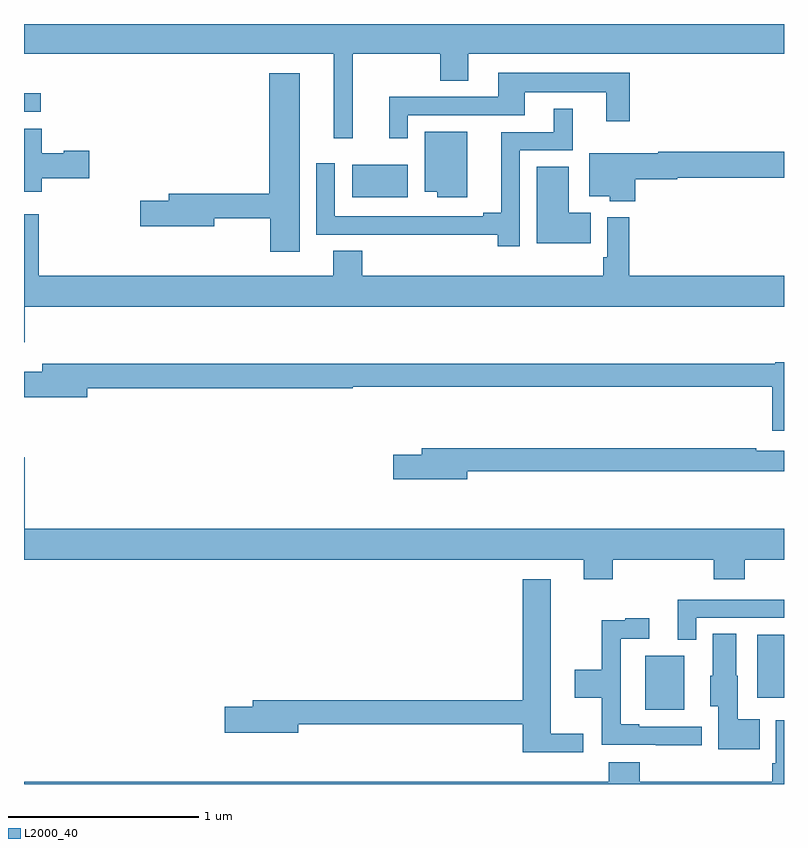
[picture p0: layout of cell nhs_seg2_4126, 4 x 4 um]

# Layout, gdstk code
import gdstk
lib = gdstk.Library(unit=1e-6, precision=1e-09)
def R(c, l, rs):  # rectangles x0, y0, x1, y1
    for r in rs: c.add(gdstk.rectangle(r[:2], r[2:], *l))
def P(c, l, *ps):  # polygons
    for p in ps: c.add(gdstk.Polygon(p, *l))
L2000_40 = (2000, 40)

nhs_seg2_4126 = lib.new_cell('nhs_seg2_4126')
R(nhs_seg2_4126, L2000_40, [(336.269,636.191,336.475,636.475), (336.86,636.254,337,636.586), (334.727,638.888,335.02,639.058), (333,639.339,333.088,639.435)])
P(nhs_seg2_4126, L2000_40, [(337,639.8),(333,639.8),(333,639.644),(334.631,639.644),(334.631,639.198),(334.73,639.198),(334.73,639.644),(335.191,639.644),(335.191,639.502),(335.338,639.502),(335.338,639.644),(337,639.644)],
  [(335.019,639.321),(335.635,639.321),(335.635,639.44),(336.065,639.44),(336.065,639.288),(336.187,639.288),(336.187,639.544),(335.495,639.544),(335.495,639.417),(334.922,639.417),(334.922,639.198),(335.019,639.198)],
  [(334.45,639.541),(334.292,639.541),(334.292,638.906),(333.761,638.906),(333.761,638.87),(333.612,638.87),(333.612,638.735),(334,638.735),(334,638.778),(334.297,638.778),(334.297,638.601),(334.45,638.601)],
  [(335.61,639.135),(335.887,639.135),(335.887,639.355),(335.789,639.355),(335.789,639.231),(335.513,639.231),(335.513,638.807),(335.417,638.807),(335.417,638.787),(334.635,638.787),(334.635,639.067),(334.539,639.067),(334.539,638.691),(334.864,638.691),(334.864,638.69),(335.494,638.69),(335.494,638.631),(335.61,638.631)],
  [(333.094,638.987),(333.343,638.987),(333.343,639.134),(333.21,639.134),(333.21,639.121),(333.094,639.121),(333.094,639.25),(333,639.25),(333,638.918),(333.094,638.918)],
  [(335.332,639.232),(335.108,639.232),(335.108,638.918),(335.174,638.918),(335.174,638.888),(335.332,638.888)],
  [(336.218,638.984),(336.438,638.984),(336.438,638.992),(337,638.992),(337,639.128),(336.338,639.128),(336.338,639.121),(335.975,639.121),(335.975,638.894),(336.084,638.894),(336.084,638.867),(336.218,638.867)],
  [(335.984,638.806),(335.866,638.806),(335.866,639.05),(335.699,639.05),(335.699,638.645),(335.984,638.645)],
  [(333.004,638.312),(337,638.312),(337,638.476),(336.185,638.476),(336.185,638.782),(336.069,638.782),(336.069,638.572),(336.049,638.572),(336.049,638.476),(334.781,638.476),(334.781,638.606),(334.628,638.606),(334.628,638.476),(333.077,638.476),(333.077,638.8),(333,638.8),(333,638.124),(333.004,638.124)],
  [(337,638.019),(336.954,638.019),(336.954,638.011),(333.095,638.011),(333.095,637.969),(333,637.969),(333,637.835),(333.334,637.835),(333.334,637.882),(334.73,637.882),(334.73,637.89),(336.938,637.89),(336.938,637.659),(337,637.659)],
  [(335.332,637.446),(337,637.446),(337,637.554),(336.854,637.554),(336.854,637.567),(335.093,637.567),(335.093,637.533),(334.944,637.533),(334.944,637.403),(335.332,637.403)],
  [(336.098,636.98),(336.629,636.98),(336.629,636.878),(336.794,636.878),(336.794,636.98),(337,636.98),(337,637.144),(333.004,637.144),(333.004,637.519),(333,637.519),(333,636.98),(335.945,636.98),(335.945,636.878),(336.098,636.878)],
  [(335.944,636.065),(335.773,636.065),(335.773,636.877),(335.624,636.877),(335.624,636.242),(334.205,636.242),(334.205,636.206),(334.056,636.206),(334.056,636.071),(334.444,636.071),(334.444,636.114),(335.624,636.114),(335.624,635.966),(335.944,635.966)],
  [(336.537,636.675),(337,636.675),(337,636.771),(336.44,636.771),(336.44,636.56),(336.537,636.56)],
  [(336.568,636.102),(336.238,636.102),(336.238,636.115),(336.141,636.115),(336.141,636.564),(336.292,636.564),(336.292,636.673),(336.164,636.673),(336.164,636.662),(336.04,636.662),(336.04,636.402),(335.898,636.402),(335.898,636.254),(336.04,636.254),(336.04,636.006),(336.325,636.006),(336.325,636.005),(336.568,636.005)],
  [(336.872,636.142),(336.757,636.142),(336.757,636.369),(336.748,636.369),(336.748,636.59),(336.626,636.59),(336.626,636.369),(336.611,636.369),(336.611,636.21),(336.653,636.21),(336.653,635.984),(336.872,635.984)],
  [(337,636.136),(336.957,636.136),(336.957,635.908),(336.937,635.908),(336.937,635.812),(336.242,635.812),(336.242,635.914),(336.077,635.914),(336.077,635.812),(333,635.812),(333,635.8),(337,635.8)])

lib.write_gds('nhs_seg2_4126.gds')
